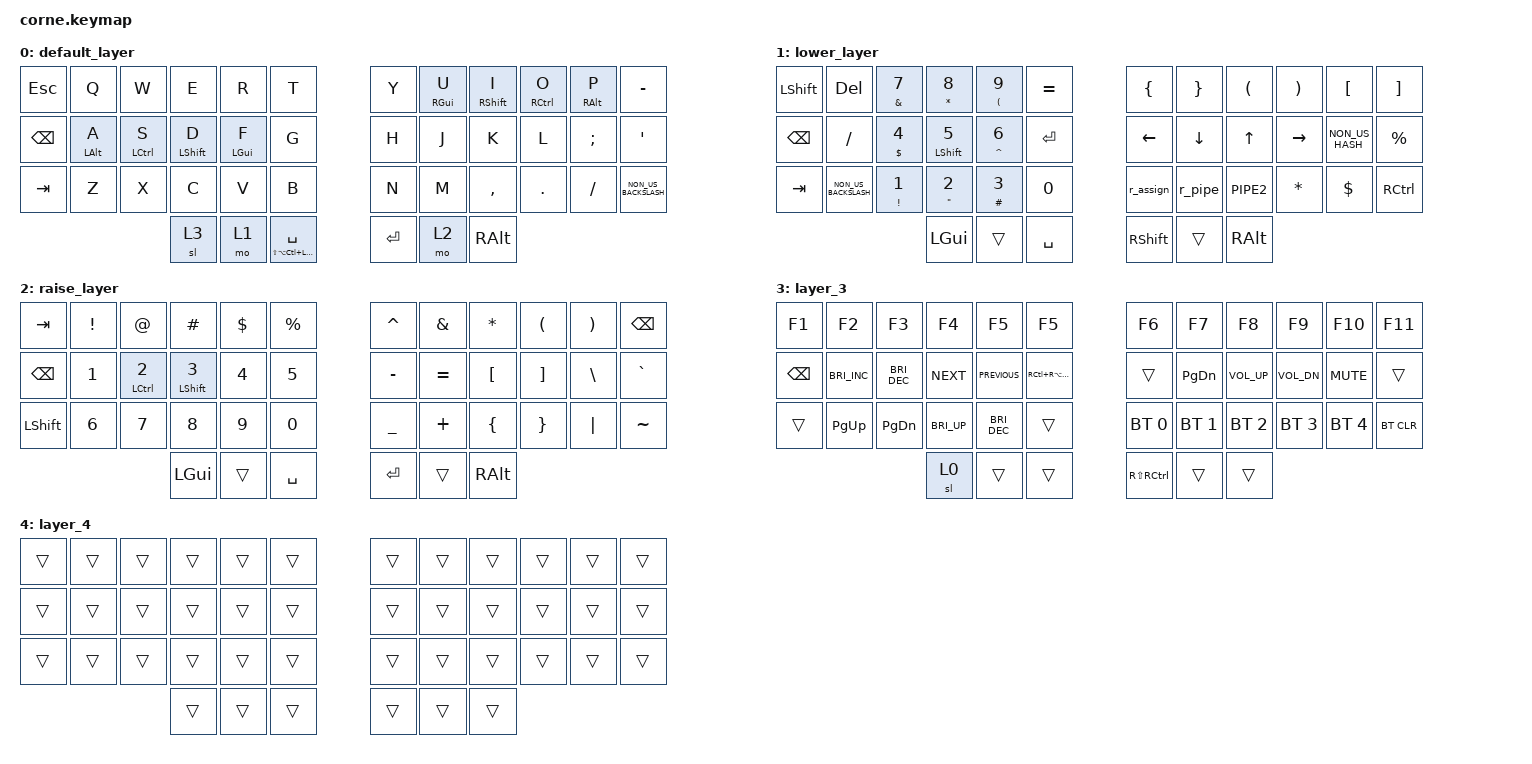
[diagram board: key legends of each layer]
/*
 * Copyright (c) 2020 The ZMK Contributors
 *
 * SPDX-License-Identifier: MIT
 */

#include <behaviors.dtsi>
#include <dt-bindings/zmk/bt.h>
#include <dt-bindings/zmk/keys.h>

/ {
    behaviors {
        HMR: HMR {
            compatible = "zmk,behavior-hold-tap";
            label = "HMR";
            bindings = <&kp>, <&kp>;

            #binding-cells = <2>;
            tapping-term-ms = <200>;
            quick-tap-ms = <175>;
            flavor = "tap-preferred";
            hold-trigger-on-release;
        };

        HML: HML {
            compatible = "zmk,behavior-hold-tap";
            label = "HML";
            bindings = <&kp>, <&kp>;

            #binding-cells = <2>;
            tapping-term-ms = <200>;
            quick-tap-ms = <175>;
            hold-trigger-on-release;
            flavor = "tap-preferred";
        };
    };

    macros {
        r_pipe: r_pipe {
            compatible = "zmk,behavior-macro";
            #binding-cells = <0>;
            bindings = <&kp PIPE2 &kp GT>;
            label = "R_PIPE";
        };

        r_assign: r_assign {
            compatible = "zmk,behavior-macro";
            #binding-cells = <0>;
            bindings = <&kp LT &kp MINUS>;
            label = "R_ASSIGN";
        };
    };

    keymap {
        compatible = "zmk,keymap";

        default_layer {
            // -----------------------------------------------------------------------------------------
            // |  TAB |  Q  |  W  |  E  |  R  |  T  |   |  Y  |  U   |  I  |  O  |  P  | BSPC |
            // | CTRL |  A  |  S  |  D  |  F  |  G  |   |  H  |  J   |  K  |  L  |  ;  |  '   |
            // | SHFT |  Z  |  X  |  C  |  V  |  B  |   |  N  |  M   |  ,  |  .  |  /  | ESC  |
            //                    | GUI | LWR | SPC |   | ENT | RSE  | ALT |

            bindings = <
&kp ESCAPE     &kp Q            &kp W                &kp E              &kp R            &kp T                              &kp Y    &HMR RIGHT_GUI U  &HMR RIGHT_SHIFT I  &HMR RIGHT_CONTROL O  &HMR RIGHT_ALT P  &kp MINUS
&kp BACKSPACE  &HML LEFT_ALT A  &HML LEFT_CONTROL S  &HML LEFT_SHIFT D  &HML LEFT_GUI F  &kp G                              &kp H    &kp J             &kp K               &kp L                 &kp SEMI          &kp SQT
&kp TAB        &kp Z            &kp X                &kp C              &kp V            &kp B                              &kp N    &kp M             &kp COMMA           &kp DOT               &kp FSLH          &kp NON_US_BACKSLASH
                                                     &sl 3              &mo 1            &HML LS(LA(LC(LEFT_GUI))) SPACE    &kp RET  &mo 2             &kp RALT
            >;
        };

        lower_layer {
            // -----------------------------------------------------------------------------------------
            // |  TAB |  1  |  2  |  3  |  4  |  5  |   |  6  |  7  |  8  |  9  |  0  | BSPC |
            // | BTCLR| BT1 | BT2 | BT3 | BT4 | BT5 |   | LFT | DWN |  UP | RGT |     |      |
            // | SHFT |     |     |     |     |     |   |     |     |     |     |     |      |
            //                    | GUI |     | SPC |   | ENT |     | ALT |

            bindings = <
&kp LEFT_SHIFT  &kp DELETE            &mt AMPERSAND N7          &mt ASTERISK N8             &mt LEFT_PARENTHESIS N9  &kp EQUAL    &kp LEFT_BRACE   &kp RIGHT_BRACE  &kp LEFT_PARENTHESIS  &kp RIGHT_PARENTHESIS  &kp LEFT_BRACKET  &kp RIGHT_BRACKET
&kp BACKSPACE   &kp SLASH             &mt DOLLAR NUMBER_4       &HML LEFT_SHIFT N5          &mt CARET NUMBER_6       &kp RET      &kp LEFT         &kp DOWN         &kp UP                &kp RIGHT              &kp NON_US_HASH   &kp PERCENT
&kp TAB         &kp NON_US_BACKSLASH  &mt EXCLAMATION NUMBER_1  &mt DOUBLE_QUOTES NUMBER_2  &mt HASH NUMBER_3        &kp N0       &r_assign        &r_pipe          &kp PIPE2             &kp ASTRK              &kp DOLLAR        &kp RIGHT_CONTROL
                                                                &kp LGUI                    &trans                   &kp SPACE    &kp RIGHT_SHIFT  &trans           &kp RALT
            >;
        };

        raise_layer {
            // -----------------------------------------------------------------------------------------
            // |  TAB |  !  |  @  |  #  |  $  |  %  |   |  ^  |  &  |  *  |  (  |  )  | BSPC |
            // | CTRL |     |     |     |     |     |   |  -  |  =  |  [  |  ]  |  \  |  `   |
            // | SHFT |     |     |     |     |     |   |  _  |  +  |  {  |  }  | "|" |  ~   |
            //                    | GUI |     | SPC |   | ENT |     | ALT |

            bindings = <
&kp TAB        &kp EXCL      &kp AT                      &kp HASH                  &kp DLLR      &kp PRCNT    &kp CARET  &kp AMPS   &kp ASTRK  &kp LPAR  &kp RPAR  &kp BSPC
&kp BACKSPACE  &kp NUMBER_1  &HML LEFT_CONTROL NUMBER_2  &HML LEFT_SHIFT NUMBER_3  &kp NUMBER_4  &kp N5       &kp MINUS  &kp EQUAL  &kp LBKT   &kp RBKT  &kp BSLH  &kp GRAVE
&kp LSHFT      &kp NUMBER_6  &kp N7                      &kp N8                    &kp N9        &kp N0       &kp UNDER  &kp PLUS   &kp LBRC   &kp RBRC  &kp PIPE  &kp TILDE
                                                         &kp LGUI                  &trans        &kp SPACE    &kp RET    &trans     &kp RALT
            >;
        };

        layer_3 {
            bindings = <
&kp F1         &kp F2                &kp F3                &kp F4        &kp F5          &kp F5                &kp F6         &kp F7         &kp F8           &kp F9        &kp F10       &kp F11
&kp BACKSPACE  &kp C_BRIGHTNESS_INC  &kp C_BRIGHTNESS_DEC  &kp C_NEXT    &kp C_PREVIOUS  &kp RC(RA(DELETE))    &trans         &kp PAGE_DOWN  &kp C_VOLUME_UP  &kp C_VOL_DN  &kp K_MUTE    &trans
&trans         &kp PAGE_UP           &kp PAGE_DOWN         &kp C_BRI_UP  &kp C_BRI_DEC   &trans                &bt BT_SEL 0   &bt BT_SEL 1   &bt BT_SEL 2     &bt BT_SEL 3  &bt BT_SEL 4  &bt BT_CLR
                                                           &sl 0         &trans          &trans                &kp RS(RCTRL)  &trans         &trans
            >;
        };

        layer_4 {
            bindings = <
&trans  &trans  &trans  &trans  &trans  &trans    &trans  &trans  &trans  &trans  &trans  &trans
&trans  &trans  &trans  &trans  &trans  &trans    &trans  &trans  &trans  &trans  &trans  &trans
&trans  &trans  &trans  &trans  &trans  &trans    &trans  &trans  &trans  &trans  &trans  &trans
                        &trans  &trans  &trans    &trans  &trans  &trans
            >;
        };
    };
};
